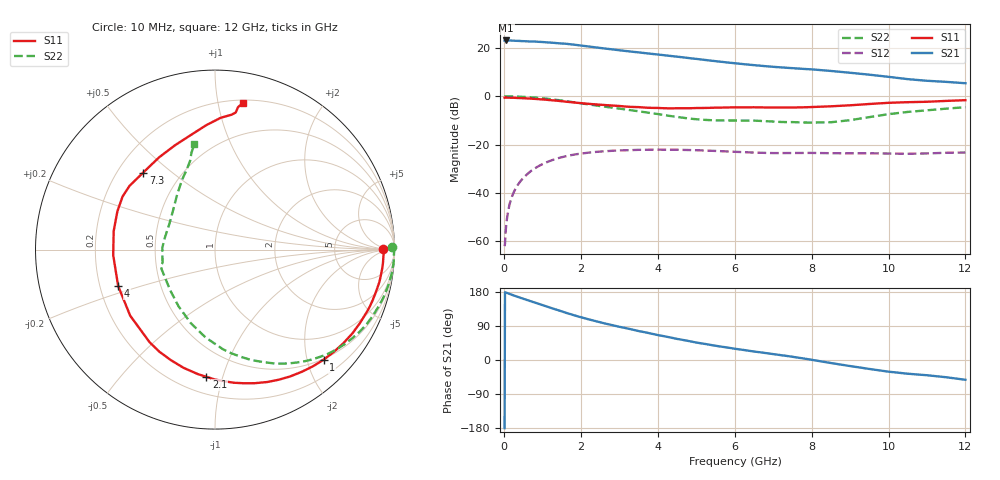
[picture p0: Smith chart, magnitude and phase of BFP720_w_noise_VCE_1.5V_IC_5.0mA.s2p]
! Infineon Technologies  Discrete & RF Semiconductors
! BFP720
! VCE =  1.5 V,  IC =  5.0 mA
! Common Emitter S-Parameters:  Aug 2012
# GHz  S  MA  R  50
!  f  S11  S21  S12  S22
! GHz  MAG  ANG  MAG  ANG  MAG  ANG  MAG  ANG
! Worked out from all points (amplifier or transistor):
!   105 points, 10 MHz to 12 GHz, reference 50 ohm
!   highest |S21| = 23.1 dB at 50 MHz (marker M1)
!   |S21| within 3 dB of that: start of sweep to 2.448 GHz
!   unconditionally stable (mu >= 1): 6.714 GHz to 11.76 GHz
!   at 300 MHz: K = 0.05, MSG = 30.5 dB, |S12| = -38.0 dB
!   at 3.6 GHz: K = 0.48, MSG = 20.0 dB, |S12| = -22.1 dB
!   at 12 GHz: K = 0.92, MSG = 14.3 dB, |S12| = -23.2 dB
!   lowest NFmin = 0.39 dB at 450 MHz
!   S11 on the Smith chart (normalised r, x): 10 MHz: 30, +2; 1 GHz: 0.48, -2.30; 2.1 GHz: 0.31, -0.89; 4 GHz: 0.28, -0.17; 7.3 GHz: 0.31, +0.40; 12 GHz: 0.22, +1.19
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0.01  0.936 0.2  14.18 -179.8  0.0008 -49.8  0.9866 0.7
0.02  0.9404 -0.8  14.11 178.8  0.0009 95.7  0.998 -0.6
0.05  0.9391 -2.2  14.29 177.7  0.0021 92.8  0.9974 -1.6
0.15  0.9372 -6.7  14.26 174.0  0.0063 85.5  0.9968 -4.9
0.4  0.9224 -17.9  13.97 165.0  0.0167 78.9  0.9818 -13.1
0.8  0.885 -36.2  13.56 151.4  0.0326 67.7  0.9414 -26.2
1  0.8616 -45.4  13.25 144.7  0.0399 62.0  0.9113 -32.7
1.3  0.8216 -59.3  12.73 134.7  0.0497 53.6  0.8584 -42.4
1.6  0.777 -73.3  12.23 124.8  0.0577 45.8  0.7975 -51.3
2.1  0.7104 -93.9  10.96 110.0  0.0671 34.2  0.6972 -64.7
2.6  0.6628 -111.9  9.791 96.9  0.0732 24.6  0.614 -76.5
3  0.6318 -125.2  8.97 87.5  0.0763 18.1  0.5581 -85.3
3.5  0.5991 -142.1  8.105 76.3  0.0784 10.8  0.4918 -96.2
4  0.5764 -159.4  7.327 65.7  0.0792 4.4  0.4305 -108.4
4.1  0.5705 -162.8  7.168 63.9  0.079 3.3  0.4176 -110.9
5  0.5737 169.8  5.942 46.0  0.077 -6.5  0.3365 -138.1
6.1  0.5931 148.8  4.742 28.3  0.0709 -13.8  0.3165 -160.4
7.3  0.5867 133.0  3.919 11.4  0.0673 -16.0  0.294 -175.5
8.5  0.6225 111.0  3.347 -8.0  0.0668 -19.9  0.2914 150.9
9.5  0.6951 94.0  2.803 -23.6  0.0666 -22.1  0.3717 124.6
10.5  0.7572 83.0  2.267 -36.2  0.065 -23.8  0.4762 109.1
12  0.8333 79.1  1.867 -52.2  0.069 -27.2  0.5968 101.1
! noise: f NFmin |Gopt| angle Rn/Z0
0.45  0.39  0.49  4  0.18
1.8  0.49  0.47  25  0.14
2.4  0.53  0.34  60  0.19
5.5  0.68  0.22  65  0.13
10  0.97  0.4  -93  0.22
